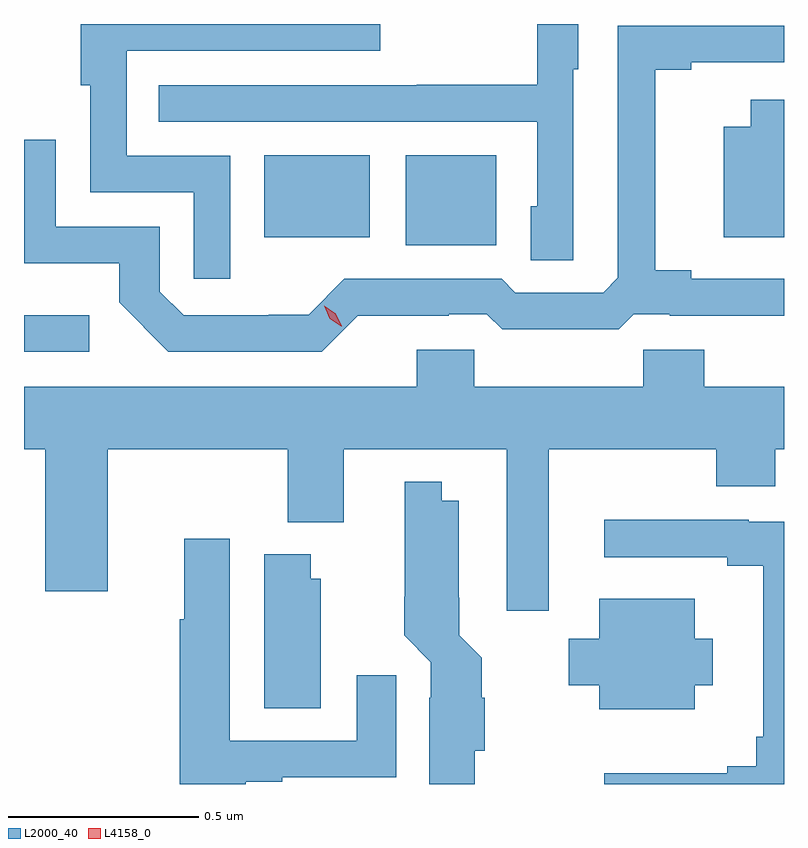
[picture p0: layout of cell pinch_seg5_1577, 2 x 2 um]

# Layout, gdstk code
import gdstk
lib = gdstk.Library(unit=1e-6, precision=1e-09)
def R(c, l, rs):  # rectangles x0, y0, x1, y1
    for r in rs: c.add(gdstk.rectangle(r[:2], r[2:], *l))
def P(c, l, *ps):  # polygons
    for p in ps: c.add(gdstk.Polygon(p, *l))
L2000_40 = (2000, 40)
L4158_0 = (4158, 0)

pinch_seg5_1577 = lib.new_cell('pinch_seg5_1577')
R(pinch_seg5_1577, L2000_40, [(272.844,842.364,273.016,842.461), (273.848,842.645,274.087,842.881), (273.476,842.666,273.754,842.881)])
P(pinch_seg5_1577, L2000_40, [(274.29,843.108),(274.303,843.108),(274.303,843.227),(274.194,843.227),(274.194,843.067),(273.877,843.067),(273.877,843.066),(273.199,843.066),(273.199,842.97),(274.194,842.97),(274.194,842.748),(274.178,842.748),(274.178,842.605),(274.29,842.605)],
  [(273.387,842.88),(273.114,842.88),(273.114,843.156),(273.781,843.156),(273.781,843.227),(272.993,843.227),(272.993,843.066),(273.018,843.066),(273.018,842.784),(273.291,842.784),(273.291,842.556),(273.387,842.556)],
  [(273.722,842.459),(273.962,842.459),(273.962,842.463),(274.062,842.463),(274.102,842.424),(274.409,842.424),(274.449,842.463),(274.543,842.463),(274.543,842.459),(274.844,842.459),(274.844,842.556),(274.6,842.556),(274.6,842.579),(274.505,842.579),(274.505,843.106),(274.6,843.106),(274.6,843.126),(274.844,843.126),(274.844,843.222),(274.407,843.222),(274.407,842.559),(274.368,842.52),(274.137,842.52),(274.101,842.556),(273.687,842.556),(273.593,842.462),(273.488,842.462),(273.488,842.46),(273.264,842.46),(273.201,842.523),(273.201,842.694),(272.928,842.694),(272.928,842.923),(272.844,842.923),(272.844,842.597),(273.094,842.597),(273.094,842.495),(273.224,842.364),(273.627,842.364)],
  [(274.844,843.028),(274.757,843.028),(274.757,842.956),(274.685,842.956),(274.685,842.666),(274.844,842.666)],
  [(273.878,842.37),(273.878,842.272),(272.844,842.272),(272.844,842.108),(272.9,842.108),(272.9,841.734),(273.064,841.734),(273.064,842.108),(273.538,842.108),(273.538,841.916),(273.685,841.916),(273.685,842.108),(274.115,842.108),(274.115,841.683),(274.225,841.683),(274.225,842.108),(274.666,842.108),(274.666,842.01),(274.821,842.01),(274.821,842.108),(274.844,842.108),(274.844,842.272),(274.634,842.272),(274.634,842.37),(274.474,842.37),(274.474,842.272),(274.029,842.272),(274.029,842.37)],
  [(274.03,841.314),(274.056,841.314),(274.056,841.454),(274.048,841.454),(274.048,841.559),(273.989,841.618),(273.989,841.717),(273.988,841.717),(273.988,841.972),(273.943,841.972),(273.943,842.023),(273.846,842.023),(273.846,841.72),(273.845,841.72),(273.845,841.618),(273.915,841.548),(273.915,841.454),(273.911,841.454),(273.911,841.227),(274.03,841.227)],
  [(274.844,841.917),(274.751,841.917),(274.751,841.922),(274.371,841.922),(274.371,841.824),(274.694,841.824),(274.694,841.802),(274.79,841.802),(274.79,841.351),(274.771,841.351),(274.771,841.274),(274.694,841.274),(274.694,841.255),(274.371,841.255),(274.371,841.227),(274.844,841.227)],
  [(273.427,841.233),(273.523,841.233),(273.523,841.245),(273.823,841.245),(273.823,841.513),(273.719,841.513),(273.719,841.341),(273.385,841.341),(273.385,841.873),(273.266,841.873),(273.266,841.66),(273.254,841.66),(273.254,841.227),(273.427,841.227)],
  [(273.625,841.767),(273.598,841.767),(273.598,841.831),(273.476,841.831),(273.476,841.426),(273.625,841.426)],
  [(274.609,841.487),(274.657,841.487),(274.657,841.609),(274.609,841.609),(274.609,841.714),(274.358,841.714),(274.358,841.609),(274.277,841.609),(274.277,841.487),(274.358,841.487),(274.358,841.424),(274.609,841.424)])
P(pinch_seg5_1577, L4158_0, [(273.679,842.431),(273.649,842.452),(273.634,842.486),(273.634,842.486),(273.634,842.486),(273.664,842.465),(273.68,842.431),(273.68,842.431)])

lib.write_gds('pinch_seg5_1577.gds')
